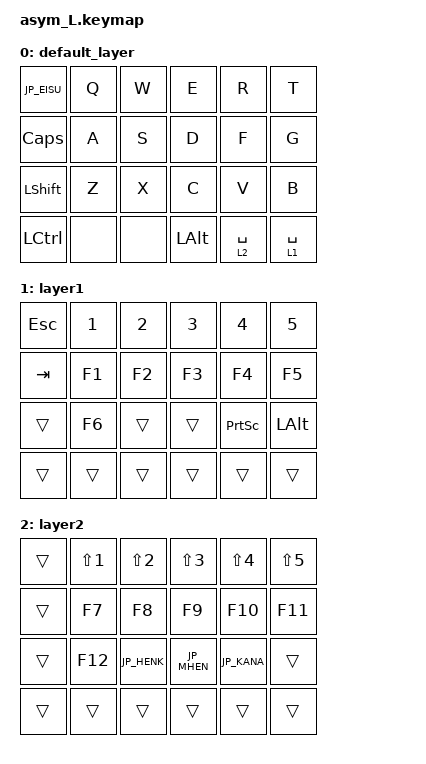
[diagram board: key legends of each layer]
/*
 * Copyright (c) 2022 The ZMK Contributors
 *
 * SPDX-License-Identifier: MIT
 */

#include <behaviors.dtsi>
#include <dt-bindings/zmk/keys.h>
#include <dt-bindings/zmk/bt.h>
#include <dt-bindings/zmk/outputs.h>


#include "keycode_japanese.h"

#define DEFAULT 0
#define NUMBERS 1
#define NAV 2
#define SYMBOLS 3
#define MOUSE 4

/ {
//combos...2個以上のキー同時押しによる出力
//使用しないのでコメントアウト
//	combos {
//		compatible = "zmk,combos";
//		combo_q {
//			timeout-ms = <50>;
//			timeout-ms = <50>;
//			key-positions = <0 1>;
//			layers = <0>;
//			bindings = <&kp Q>;
//		};
//	};

//レイヤー設定
//3レイヤー使用予定

	keymap {
		compatible = "zmk,keymap";
		default_layer {
			bindings = <
				&kp JP_EISU	&kp Q		&kp W		&kp E		&kp R		&kp T
				&kp CAPS	&kp A		&kp S		&kp D		&kp F		&kp G
				&kp LSHFT	&kp Z		&kp X		&kp C		&kp V		&kp B
				&kp LCTRL	&none		&none		&kp LALT	&lt 2 SPACE	&lt 1 SPACE
			>;
		};
		layer1 {
			bindings = <
				&kp ESC		&kp N1		&kp N2		&kp N3		&kp N4		&kp N5 
				&kp TAB		&kp F1		&kp F2		&kp F3		&kp F4		&kp F5
				&trans		&kp F6		&trans		&trans		&kp PSCRN	&kp LALT
				&trans		&trans		&trans		&trans		&trans		&trans
			>;
		};
		layer2 {
			bindings = <
				&trans		&kp LS(N1)	&kp LS(N2)	&kp LS(N3)	&kp LS(N4)	&kp LS(N5)
				&trans		&kp F7		&kp F8		&kp F9		&kp F10		&kp F11
				&trans		&kp F12		&kp JP_HENK	&kp JP_MHEN	&kp JP_KANA	&trans
				&trans		&trans		&trans		&trans		&trans		&trans
			>;
		};
/*
		bindings = <
			&kp A &kp B &kp C &kp D &kp E &kp F
			&kp G &kp H &kp I &kp J &kp K &kp L
			&kp M &kp N &kp O &kp P &kp Q &kp R
			&kp S &kp T &kp U &kp V &kp W &kp X
		>;
		default_layer {
			bindings = <
				&kp CAPS	&kp Q		&kp W		&kp E		&kp R		&kp T					&kp Y		&kp U		&kp I		&kp O		&kp P			&kp JP_MINUS	&kp BSPC
				&kp CAPS	&kp A		&kp S		&kp D		&kp F		&kp G					&kp H		&kp J		&kp K		&kp L		&kp JP_SEMI		&kp ENTER
				&kp LSHFT	&kp Z		&kp X		&kp C		&kp V		&kp B			&kp B		&kp N		&kp M		&kp JP_COMMA	&kp JP_DOT	&kp BSLH		&kp RSHFT
				&kp LCTRL					&kp P		&kp P		&kp P			&kp P		&kp P		&kp P
			>;
		};
		layer1 {
			bindings = <
				&kp ESC		&kp N1		&kp N2		&kp N3		&kp N4		&kp N5					&kp N6		&kp N7		&kp UP		&kp N8		&kp N9			&kp N0		&kp DEL 
				&kp TAB		&kp F1		&kp F2		&kp F3		&kp F4		&kp F5					&kp CAPS	&kp LEFT	&kp DOWN	&kp RIGHT	&kp JP_COLON		&kp RS(ENTER)
				&trans		&kp F6		&kp X   	&kp C		&kp PSCRN	&kp LALT		&kp F2		&kp CARET	&kp JP_AT	&kp LBKT	&kp RBKT	&kp JP_SLASH		&trans
				&trans						&trans		&trans		&trans			&trans		&trans		&trans
			>;
		};
		layer2 {
			bindings = <
				&trans		&kp LS(N1)	&kp LS(N2)	&kp LS(N3)	&kp LS(N4)	&kp LS(N5)				&kp LS(N6)	&kp LS(N7)	&kp UP		&kp LS(N8)	&kp LS(N9)		&kp LS(N0)	&kp DEL
				&trans		&kp F7		&kp F8		&kp F9		&kp F10		&kp F11					&trans		&kp LEFT	&kp DOWN	&kp RIGHT	&trans			&kp LA(ENTER)
				&trans		&kp F12		&trans		&trans		&trans		&trans			&kp F2		&kp LS(CARET)	&kp LS(JP_AT)	&kp LS(LBKT)	&kp LS(RBKT)	&kp LS(JP_SLASH)	&trans
				&trans						&trans		&trans		&trans			&trans		&trans		&trans
			>;
		};
*/
	};
};
